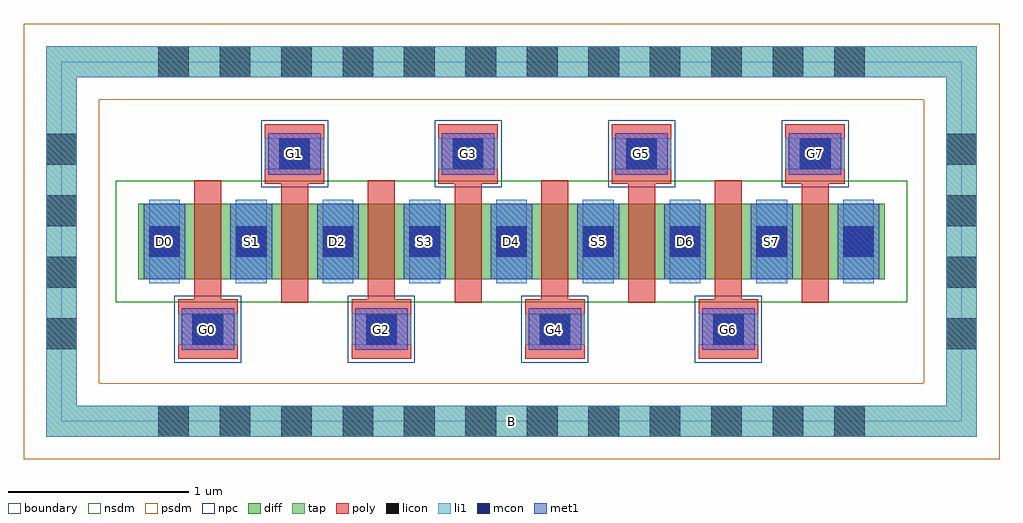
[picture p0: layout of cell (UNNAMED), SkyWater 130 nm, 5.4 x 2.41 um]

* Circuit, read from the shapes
.subckt (UNNAMED) B D0 D2 D4 D6 G0 G1 G2 G3 G4 G5 G6 G7 S1 S3 S5 S7
XM1 S1 G0 D0 B sky130_fd_pr__nfet_01v8 w=0.42 l=0.15
XM2 D2 G1 S1 B sky130_fd_pr__nfet_01v8 w=0.42 l=0.15
XM3 S3 G2 D2 B sky130_fd_pr__nfet_01v8 w=0.42 l=0.15
XM4 D4 G3 S3 B sky130_fd_pr__nfet_01v8 w=0.42 l=0.15
XM5 S5 G4 D4 B sky130_fd_pr__nfet_01v8 w=0.42 l=0.15
XM6 D6 G5 S5 B sky130_fd_pr__nfet_01v8 w=0.42 l=0.15
XM7 S7 G6 D6 B sky130_fd_pr__nfet_01v8 w=0.42 l=0.15
XM8 n1 G7 S7 B sky130_fd_pr__nfet_01v8 w=0.42 l=0.15
.ends

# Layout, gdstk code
import gdstk
lib = gdstk.Library(unit=1e-6, precision=1e-09)
def R(c, l, rs):  # rectangles x0, y0, x1, y1
    for r in rs: c.add(gdstk.rectangle(r[:2], r[2:], *l))
def A(c, l, x, y, w, h, nx, ny, dx, dy):  # array of equal rectangles
    R(c, l, [(x+i*dx, y+j*dy, x+i*dx+w, y+j*dy+h) for i in range(nx) for j in range(ny)])
diff = (65, 20)
tap = (65, 44)
poly = (66, 20)
licon = (66, 44)
li1 = (67, 20)
mcon = (67, 44)
met1 = (68, 20)
nsdm = (93, 44)
psdm = (94, 20)
npc = (95, 20)
boundary = (235, 4)

c__unnamed_ = lib.new_cell('(UNNAMED)')
R(c__unnamed_, diff, [(-2.065,-0.21,2.065,0.21)])
R(c__unnamed_, tap, [(-2.575,-1.08,2.575,-0.91), (-2.575,-0.91,-2.405,0.91), (2.405,-0.91,2.575,0.91), (-2.575,0.91,2.575,1.08)])
A(c__unnamed_, poly, -1.845, -0.65, 0.33, 0.33, 4, 1, 0.96, 0)
A(c__unnamed_, poly, -1.275, -0.34, 0.15, 0.66, 4, 1, 0.96, 0)
A(c__unnamed_, poly, -1.755, -0.32, 0.15, 0.66, 4, 1, 0.96, 0)
A(c__unnamed_, poly, -1.365, 0.32, 0.33, 0.33, 4, 1, 0.96, 0)
A(c__unnamed_, licon, -1.955, -1.08, 0.17, 0.17, 12, 2, 0.34, 1.99)
A(c__unnamed_, licon, -2.575, -0.595, 0.17, 0.17, 1, 4, 0, 0.34)
A(c__unnamed_, licon, 2.405, -0.595, 0.17, 0.17, 1, 4, 0, 0.34)
A(c__unnamed_, licon, -1.765, -0.57, 0.17, 0.17, 4, 1, 0.96, 0)
A(c__unnamed_, licon, -2.005, -0.085, 0.17, 0.17, 9, 1, 0.48, 0)
A(c__unnamed_, licon, -1.285, 0.4, 0.17, 0.17, 4, 1, 0.96, 0)
A(c__unnamed_, li1, -1.845, -0.57, 0.33, 0.17, 4, 1, 0.96, 0)
A(c__unnamed_, li1, -2.005, -0.23, 0.17, 0.46, 9, 1, 0.48, 0)
A(c__unnamed_, li1, -1.365, 0.4, 0.33, 0.17, 4, 1, 0.96, 0)
R(c__unnamed_, li1, [(-2.575,-1.08,2.575,-0.91), (-2.575,-0.91,-2.405,0.91), (2.405,-0.91,2.575,0.91), (-2.575,0.91,2.575,1.08)])
A(c__unnamed_, mcon, -1.765, -0.57, 0.17, 0.17, 4, 1, 0.96, 0)
A(c__unnamed_, mcon, -2.005, -0.085, 0.17, 0.17, 9, 1, 0.48, 0)
A(c__unnamed_, mcon, -1.285, 0.4, 0.17, 0.17, 4, 1, 0.96, 0)
A(c__unnamed_, met1, -1.825, -0.6, 0.29, 0.23, 4, 1, 0.96, 0)
A(c__unnamed_, met1, -2.035, -0.21, 0.23, 0.42, 9, 1, 0.48, 0)
A(c__unnamed_, met1, -1.345, 0.37, 0.29, 0.23, 4, 1, 0.96, 0)
R(c__unnamed_, nsdm, [(-2.19,-0.335,2.19,0.335)])
R(c__unnamed_, psdm, [(-2.7,-1.205,2.7,-0.785), (-2.7,-0.785,-2.28,0.785), (2.28,-0.785,2.7,0.785), (-2.7,0.785,2.7,1.205)])
A(c__unnamed_, npc, -1.865, -0.67, 0.37, 0.37, 4, 1, 0.96, 0)
A(c__unnamed_, npc, -1.385, 0.3, 0.37, 0.37, 4, 1, 0.96, 0)
R(c__unnamed_, boundary, [(-2.49,-0.995,2.49,0.995)])
c__unnamed_.add(gdstk.Label('B', (0,-0.995), layer=67, texttype=5))
c__unnamed_.add(gdstk.Label('D0', (-1.92,0), layer=67, texttype=5))
c__unnamed_.add(gdstk.Label('G0', (-1.68,-0.485), layer=67, texttype=5))
c__unnamed_.add(gdstk.Label('S1', (-1.44,0), layer=67, texttype=5))
c__unnamed_.add(gdstk.Label('G1', (-1.2,0.485), layer=67, texttype=5))
c__unnamed_.add(gdstk.Label('D2', (-0.96,0), layer=67, texttype=5))
c__unnamed_.add(gdstk.Label('G2', (-0.72,-0.485), layer=67, texttype=5))
c__unnamed_.add(gdstk.Label('S3', (-0.48,0), layer=67, texttype=5))
c__unnamed_.add(gdstk.Label('G3', (-0.24,0.485), layer=67, texttype=5))
c__unnamed_.add(gdstk.Label('D4', (0,0), layer=67, texttype=5))
c__unnamed_.add(gdstk.Label('G4', (0.24,-0.485), layer=67, texttype=5))
c__unnamed_.add(gdstk.Label('S5', (0.48,0), layer=67, texttype=5))
c__unnamed_.add(gdstk.Label('G5', (0.72,0.485), layer=67, texttype=5))
c__unnamed_.add(gdstk.Label('D6', (0.96,0), layer=67, texttype=5))
c__unnamed_.add(gdstk.Label('G6', (1.2,-0.485), layer=67, texttype=5))
c__unnamed_.add(gdstk.Label('S7', (1.44,0), layer=67, texttype=5))
c__unnamed_.add(gdstk.Label('G7', (1.68,0.485), layer=67, texttype=5))

lib.write_gds('_UNNAMED_.gds')
